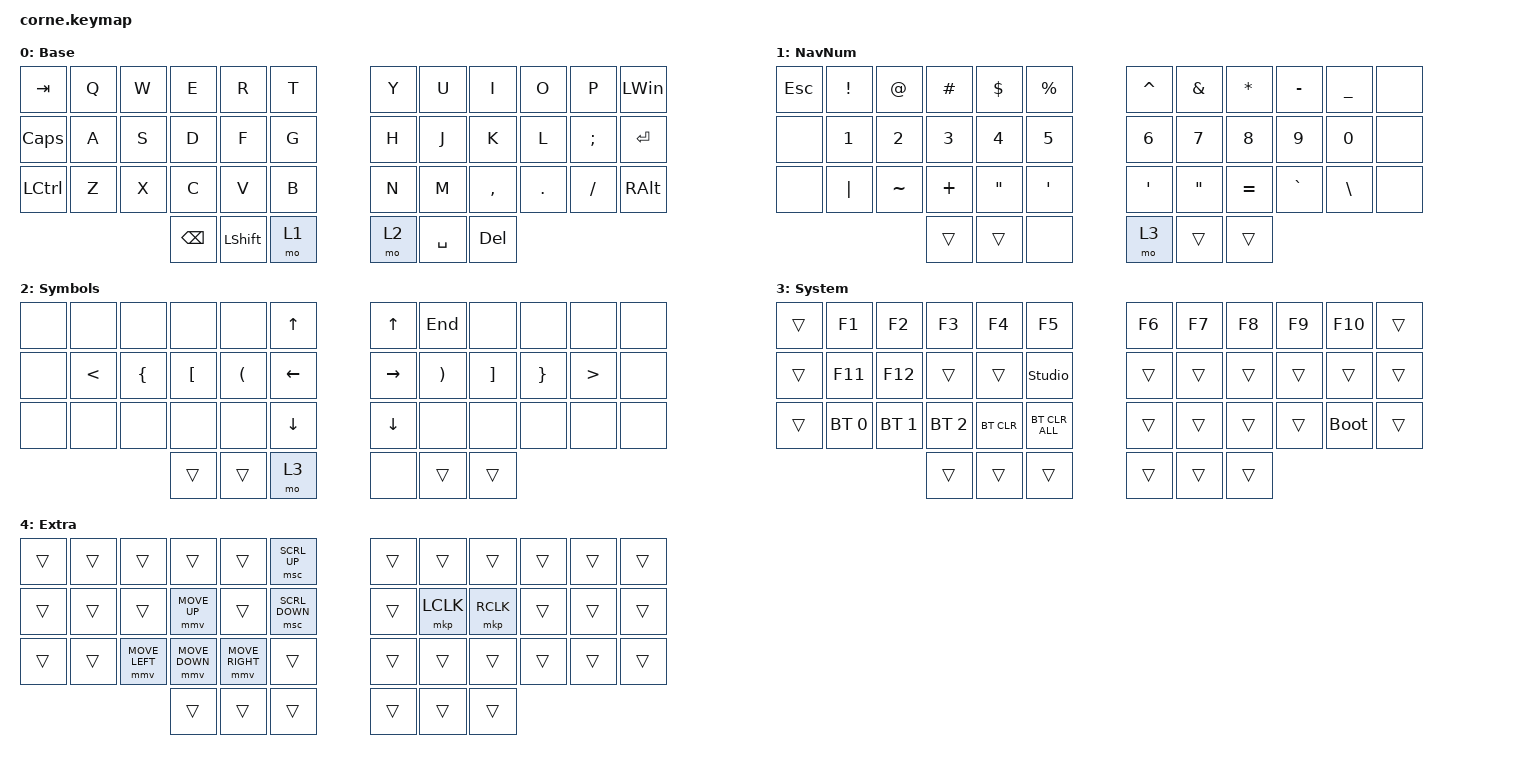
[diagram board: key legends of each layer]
#include <behaviors.dtsi>
#include <dt-bindings/zmk/bt.h>
#include <dt-bindings/zmk/keys.h>
#include <dt-bindings/zmk/pointing.h>

#define DEF 0
#define NAV 1
#define SYM 2
#define ADJ 3
#define EXTRA 4

/ {
    behaviors {
        hm: homerow_mods {
            compatible = "zmk,behavior-hold-tap";
            #binding-cells = <2>;
            tapping-term-ms = <200>;
            flavor = "tap-preferred";
            bindings = <&kp>, <&kp>;

            quick-tap-ms = <180>;
            require-prior-idle-ms = <120>; /* tune to taste */
        };

        para: para {
            compatible = "zmk,behavior-tap-dance";
            #binding-cells = <0>;
            bindings = <&kp LEFT_PARENTHESIS>, <&kp RIGHT_PARENTHESIS>;
        };

        caps: caps {
            compatible = "zmk,behavior-caps-word";
            #binding-cells = <0>;
            continue-list = <MINUS BACKSPACE>;
        };

        paraless: paraless {
            compatible = "zmk,behavior-mod-morph";
            bindings = <&kp LEFT_PARENTHESIS>, <&kp LESS_THAN>;

            #binding-cells = <0>;
            mods = <(MOD_LSFT)>;
        };

        paragreat: paragreat {
            compatible = "zmk,behavior-mod-morph";
            bindings = <&kp RIGHT_PARENTHESIS>, <&kp GREATER_THAN>;

            #binding-cells = <0>;
            mods = <(MOD_LSFT)>;
        };
    };

    macros {
        browsertab: browsertab {
            compatible = "zmk,behavior-macro";
            #binding-cells = <0>;
            bindings =
                <&macro_press>,
                <&kp LCTRL>,
                <&macro_tap>,
                <&kp TAB>,
                <&macro_release>,
                <&kp LCTRL>;
        };
    };

    combos {
        compatible = "zmk,combos";

        escape {
            bindings = <&kp ESCAPE>;
            key-positions = <13 29>;
        };

        delete {
            bindings = <&kp DELETE>;
            key-positions = <15 21>;
        };

        perc {
            bindings = <&kp PERCENT>;
            key-positions = <5 17>;
            layers = <0>;
        };

        equal {
            bindings = <&kp EQUAL>;
            key-positions = <28 16>;
            layers = <0>;
        };

        dollar {
            bindings = <&kp DOLLAR>;
            key-positions = <4 16>;
            layers = <0>;
        };

        pound {
            bindings = <&kp POUND>;
            key-positions = <3 15>;
            layers = <0>;
        };

        at {
            bindings = <&kp AT>;
            key-positions = <2 14>;
            layers = <0>;
        };

        backslash {
            bindings = <&kp BACKSLASH>;
            key-positions = <26 14>;
            layers = <0>;
        };

        star {
            bindings = <&kp STAR>;
            key-positions = <8 20>;
            layers = <0>;
        };

        slash {
            bindings = <&kp SLASH>;
            key-positions = <32 20>;
            layers = <0>;
        };

        plus {
            bindings = <&kp PLUS>;
            key-positions = <7 19>;
            layers = <0>;
        };

        minus {
            bindings = <&kp KP_MINUS>;
            key-positions = <31 19>;
            layers = <0>;
        };

        underscore {
            bindings = <&kp UNDER>;
            key-positions = <30 18>;
            layers = <0>;
        };

        leftbrack {
            bindings = <&kp LEFT_BRACKET>;
            key-positions = <31 32>;
            layers = <0>;
        };

        rightbrack {
            bindings = <&kp RIGHT_BRACKET>;
            key-positions = <33 32>;
            layers = <0>;
        };

        para-less {
            bindings = <&paraless>;
            key-positions = <20 19>;
            layers = <0>;
        };

        para-great {
            bindings = <&paragreat>;
            key-positions = <20 21>;
            layers = <0>;
        };
    };

    //

    keymap {
        compatible = "zmk,keymap";

        DEF {
            display-name = "Base";

            // -----------------------------------------------------------------------------------------
            // |  Q  |  W  |  E  |  R  |  T  |   |  Y  |  U   |  I  |  O  |  P  |
            // |  A  |  S  |  D  |  F  |  G  |   |  H  |  J   |  K  |  L  |  ;  |
            // |  Z  |  X  |  C  |  V  |  B  |   |  N  |  M   |  ,  |  .  |  /  |
            // | GUI | CTRL | SHFT | LWR | SPC |   | ENT | RSE  | BKSP | ALT | ESC |

            bindings = <
&kp TAB       &kp Q  &kp W  &kp E          &kp R           &kp T    &kp Y  &kp U      &kp I       &kp O    &kp P     &kp LEFT_WIN
&kp CAPSLOCK  &kp A  &kp S  &kp D          &kp F           &kp G    &kp H  &kp J      &kp K       &kp L    &kp SEMI  &kp ENTER
&kp LCTRL     &kp Z  &kp X  &kp C          &kp V           &kp B    &kp N  &kp M      &kp COMMA   &kp DOT  &kp FSLH  &kp RIGHT_ALT
                            &kp BACKSPACE  &kp LEFT_SHIFT  &mo 1    &mo 2  &kp SPACE  &kp DELETE
            >;
        };

        NAV {
            display-name = "NavNum";

            // -----------------------------------------------------------------------------------------
            // |  TAB |  1  |  2  |  3  |  4  |  5  |   |  6  |  7  |  8  |  9  |  0  | BKSP |
            // | BTCLR| BT1 | BT2 | BT3 | BT4 | BT5 |   | LFT | DWN |  UP | RGT |     |      |
            // | SHFT |     |     |     |     |     |   |     |     |     |     |     |      |
            // | GUI | CTRL | SHFT | LWR | SPC |   | ENT | RSE  | BKSP | ALT | ESC |

            bindings = <
&kp ESC  &kp EXCLAMATION  &kp AT_SIGN   &kp HASH      &kp DOLLAR         &kp PERCENT    &kp CARET         &kp AMPERSAND      &kp ASTERISK  &kp MINUS  &kp UNDERSCORE  &none
&none    &kp NUMBER_1     &kp NUMBER_2  &kp NUMBER_3  &kp NUMBER_4       &kp N5         &kp NUMBER_6      &kp N7             &kp N8        &kp N9     &kp N0          &none
&none    &kp PIPE         &kp TILDE     &kp PLUS      &kp DOUBLE_QUOTES  &kp SQT        &kp SINGLE_QUOTE  &kp DOUBLE_QUOTES  &kp EQUAL     &kp GRAVE  &kp BACKSLASH   &none
                                        &trans        &trans             &none          &mo 3             &trans             &trans
            >;
        };

        SYM {
            display-name = "Symbols";

            // -----------------------------------------------------------------------------------------
            // |  TAB |  !  |  @  |  #  |  $  |  %  |   |  ^  |  &  |  *  |  (  |  )  | BKSP |
            // | CTRL |     |     |     |     |     |   |  -  |  =  |  [  |  ]  |  \  |  `   |
            // | SHFT |     |     |     |     |     |   |  _  |  +  |  {  |  }  | "|" |  ~   |
            //                    | GUI |     | SPC |   | ENT |     | ALT |

            bindings = <
&none  &none          &none           &none             &none                 &kp UP_ARROW      &kp UP_ARROW     &kp END                &none              &none            &none             &none
&none  &kp LESS_THAN  &kp LEFT_BRACE  &kp LEFT_BRACKET  &kp LEFT_PARENTHESIS  &kp LEFT_ARROW    &kp RIGHT_ARROW  &kp RIGHT_PARENTHESIS  &kp RIGHT_BRACKET  &kp RIGHT_BRACE  &kp GREATER_THAN  &none
&none  &none          &none           &none             &none                 &kp DOWN          &kp DOWN         &none                  &none              &none            &none             &none
                                      &trans            &trans                &mo 3             &none            &trans                 &trans
            >;
        };

        ADJ {
            display-name = "System";
            bindings = <
&trans  &kp F1        &kp F2        &kp F3        &kp F4      &kp F5            &kp F6  &kp F7  &kp F8  &kp F9  &kp F10      &trans
&trans  &kp F11       &kp F12       &trans        &trans      &studio_unlock    &trans  &trans  &trans  &trans  &trans       &trans
&trans  &bt BT_SEL 0  &bt BT_SEL 1  &bt BT_SEL 2  &bt BT_CLR  &bt BT_CLR_ALL    &trans  &trans  &trans  &trans  &bootloader  &trans
                                    &trans        &trans      &trans            &trans  &trans  &trans
            >;
        };

        EXTRA {
            display-name = "Extra";
            bindings = <
&trans  &trans  &trans          &trans          &trans           &msc SCRL_UP      &trans  &trans     &trans     &trans  &trans  &trans
&trans  &trans  &trans          &mmv MOVE_UP    &trans           &msc SCRL_DOWN    &trans  &mkp LCLK  &mkp RCLK  &trans  &trans  &trans
&trans  &trans  &mmv MOVE_LEFT  &mmv MOVE_DOWN  &mmv MOVE_RIGHT  &trans            &trans  &trans     &trans     &trans  &trans  &trans
                                &trans          &trans           &trans            &trans  &trans     &trans
            >;
        };
    };
};
